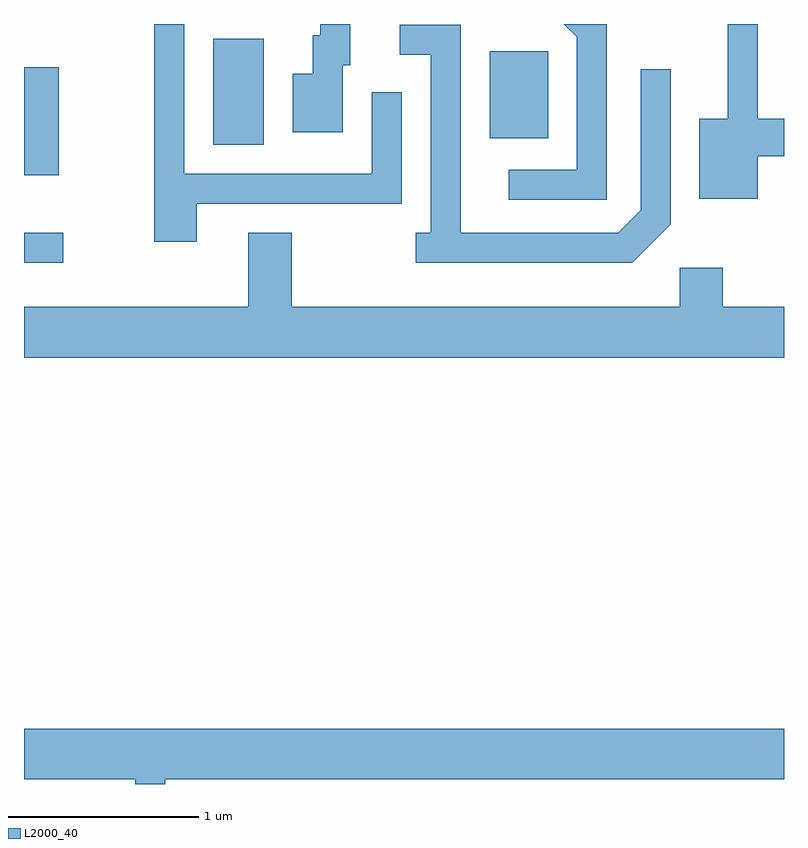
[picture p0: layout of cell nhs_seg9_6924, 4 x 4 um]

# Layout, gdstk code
import gdstk
lib = gdstk.Library(unit=1e-6, precision=1e-09)
def R(c, l, rs):  # rectangles x0, y0, x1, y1
    for r in rs: c.add(gdstk.rectangle(r[:2], r[2:], *l))
def P(c, l, *ps):  # polygons
    for p in ps: c.add(gdstk.Polygon(p, *l))
L2000_40 = (2000, 40)

nhs_seg9_6924 = lib.new_cell('nhs_seg9_6924')
R(nhs_seg9_6924, L2000_40, [(389.611,2021.176,389.818,2021.334), (389.611,2021.636,389.794,2022.204), (390.606,2021.796,390.874,2022.354), (392.061,2021.831,392.369,2022.289)])
P(nhs_seg9_6924, L2000_40, [(390.519,2021.486),(391.599,2021.486),(391.599,2022.073),(391.441,2022.073),(391.441,2021.644),(390.454,2021.644),(390.454,2022.432),(390.296,2022.432),(390.296,2021.286),(390.519,2021.286)],
  [(391.289,2022.216),(391.329,2022.216),(391.329,2022.432),(391.171,2022.432),(391.171,2022.374),(391.131,2022.374),(391.131,2022.169),(391.026,2022.169),(391.026,2021.861),(391.289,2021.861)],
  [(392.679,2022.432),(392.453,2022.432),(392.521,2022.364),(392.521,2021.664),(392.163,2021.664),(392.163,2021.506),(392.679,2021.506)],
  [(393.474,2021.736),(393.611,2021.736),(393.611,2021.934),(393.474,2021.934),(393.474,2022.432),(393.316,2022.432),(393.316,2021.934),(393.166,2021.934),(393.166,2021.511),(393.474,2021.511)],
  [(393.014,2021.379),(393.014,2022.193),(392.856,2022.193),(392.856,2021.452),(392.739,2021.334),(391.909,2021.334),(391.909,2022.429),(391.588,2022.429),(391.588,2022.271),(391.751,2022.271),(391.751,2021.334),(391.673,2021.334),(391.673,2021.176),(392.812,2021.176)],
  [(393.611,2020.944),(393.289,2020.944),(393.289,2021.149),(393.061,2021.149),(393.061,2020.944),(391.019,2020.944),(391.019,2021.334),(390.791,2021.334),(390.791,2020.944),(389.611,2020.944),(389.611,2020.676),(393.611,2020.676)],
  [(390.354,2018.456),(393.611,2018.456),(393.611,2018.724),(389.611,2018.724),(389.611,2018.456),(390.196,2018.456),(390.196,2018.432),(390.354,2018.432)])

lib.write_gds('nhs_seg9_6924.gds')
